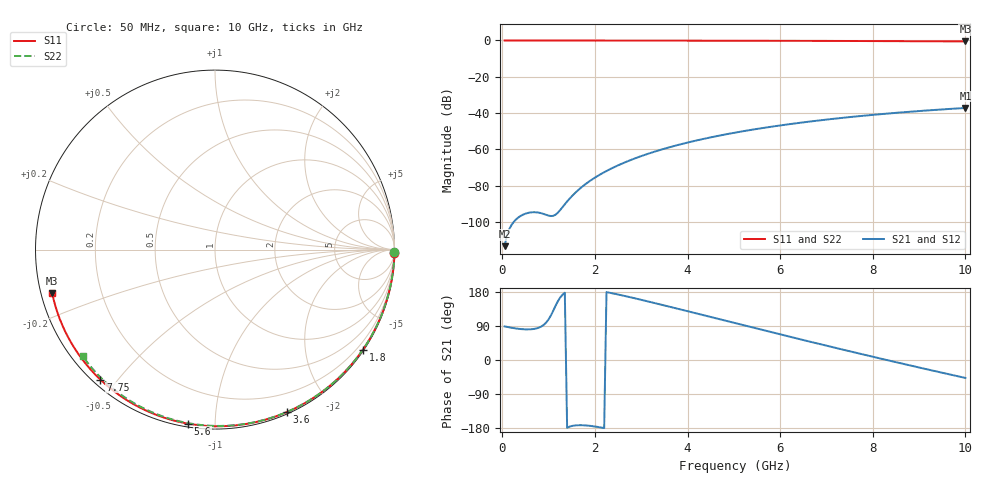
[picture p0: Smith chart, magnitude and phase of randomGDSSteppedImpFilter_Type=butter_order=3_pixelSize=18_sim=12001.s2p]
! freq	dB(S11)	phase(S11)	dB(S12)	phase(S12)
!  dB(S21)	phase(S21)	dB(S22)	phase(S22)
!S-par simulation data
#  GHz  S  DB  R 50
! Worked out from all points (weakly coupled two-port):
!   200 points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, 50 MHz to 10 GHz, reference 50 ohm
!   highest |S21| = -37.19 dB at 10 GHz (marker M1); lowest = -113.3 dB at 50 MHz (marker M2)
!   lowest |S11| = -0.5 dB at 10 GHz (marker M3), VSWR 31.89, Z = 1.6 - j6.6 ohm
!   |S11| at or under -10 dB: nowhere
!   |S22| runs from -0.5 to 0.0 dB; largest |S21 - S12| = 0
!   S11 on the Smith chart (normalised r, x): 50 MHz: open; 1.8 GHz: 0.03, -3.27; 3.6 GHz: 0.02, -1.54; 5.6 GHz: 0.02, -0.86; 7.75 GHz: 0.02, -0.45; 10 GHz: 0.03, -0.13
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0.05  -0.00 -1.0  -113.31 88.7  -113.31 88.7  -0.00 -0.8
0.45  -0.01 -8.7  -95.93 81.1  -95.93 81.1  -0.01 -7.3
0.85  -0.02 -16.3  -95.21 88.9  -95.21 88.9  -0.02 -13.8
1.3  -0.03 -24.7  -91.82 172.2  -91.82 172.2  -0.03 -21.0
1.75  -0.04 -33.1  -80.05 -172.2  -80.05 -172.2  -0.04 -28.2
1.8  -0.04 -34.0  -79.07 -172.6  -79.07 -172.6  -0.04 -29.0
1.95  -0.05 -36.8  -76.39 -174.6  -76.39 -174.6  -0.04 -31.3
2.1  -0.05 -39.5  -74.02 -177.5  -74.02 -177.5  -0.04 -33.7
2.3  -0.06 -43.2  -71.24 178.0  -71.24 178.0  -0.05 -36.8
2.5  -0.06 -46.8  -68.79 172.9  -68.79 172.9  -0.05 -39.9
2.9  -0.07 -53.9  -64.62 161.8  -64.62 161.8  -0.06 -46.0
3.4  -0.08 -62.7  -60.37 147.0  -60.37 147.0  -0.07 -53.6
3.6  -0.09 -66.1  -58.90 141.0  -58.90 141.0  -0.08 -56.5
4.3  -0.11 -77.9  -54.47 119.6  -54.47 119.6  -0.09 -66.8
5.05  -0.14 -90.1  -50.66 96.5  -50.66 96.5  -0.12 -77.4
5.6  -0.16 -98.8  -48.32 79.8  -48.32 79.8  -0.14 -85.0
6.15  -0.19 -107.4  -46.28 63.1  -46.28 63.1  -0.16 -92.4
6.7  -0.23 -115.7  -44.48 46.7  -44.48 46.7  -0.19 -99.7
7.75  -0.30 -131.4  -41.58 15.8  -41.58 15.8  -0.26 -113.2
8.35  -0.36 -140.2  -40.20 -1.4  -40.20 -1.4  -0.31 -120.7
9.2  -0.45 -152.8  -38.51 -25.4  -38.51 -25.4  -0.39 -131.3
10  -0.54 -165.0  -37.19 -47.4  -37.19 -47.4  -0.48 -141.2
